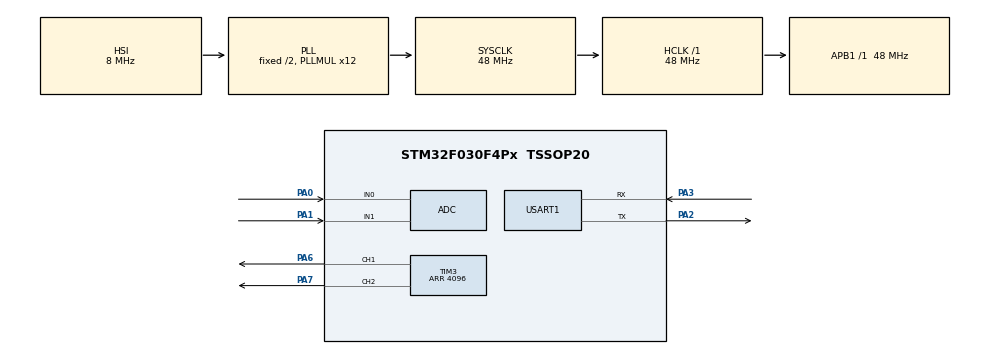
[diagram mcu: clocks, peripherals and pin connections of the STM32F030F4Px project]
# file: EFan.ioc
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ADC.ContinuousConvMode=ENABLE
ADC.DMAContinuousRequests=ENABLE
ADC.SamplingTime=ADC_SAMPLETIME_55CYCLES_5
Dma.ADC.2.Direction=DMA_PERIPH_TO_MEMORY
Dma.ADC.2.Instance=DMA1_Channel1
Dma.ADC.2.MemDataAlignment=DMA_MDATAALIGN_HALFWORD
Dma.ADC.2.MemInc=DMA_MINC_ENABLE
Dma.ADC.2.Mode=DMA_CIRCULAR
Dma.ADC.2.PeriphDataAlignment=DMA_PDATAALIGN_HALFWORD
Dma.ADC.2.PeriphInc=DMA_PINC_DISABLE
Dma.ADC.2.Priority=DMA_PRIORITY_LOW
Dma.Request0=USART1_RX
Dma.Request1=USART1_TX
Dma.Request2=ADC
Dma.USART1_RX.0.Direction=DMA_PERIPH_TO_MEMORY
Dma.USART1_RX.0.Instance=DMA1_Channel3
Dma.USART1_RX.0.MemDataAlignment=DMA_MDATAALIGN_BYTE
Dma.USART1_RX.0.MemInc=DMA_MINC_ENABLE
Dma.USART1_RX.0.Mode=DMA_NORMAL
Dma.USART1_RX.0.PeriphDataAlignment=DMA_PDATAALIGN_BYTE
Dma.USART1_RX.0.PeriphInc=DMA_PINC_DISABLE
Dma.USART1_RX.0.Priority=DMA_PRIORITY_LOW
Dma.USART1_TX.1.Direction=DMA_MEMORY_TO_PERIPH
Dma.USART1_TX.1.Instance=DMA1_Channel2
Dma.USART1_TX.1.MemDataAlignment=DMA_MDATAALIGN_BYTE
Dma.USART1_TX.1.MemInc=DMA_MINC_ENABLE
Dma.USART1_TX.1.Mode=DMA_NORMAL
Dma.USART1_TX.1.PeriphDataAlignment=DMA_PDATAALIGN_BYTE
Dma.USART1_TX.1.PeriphInc=DMA_PINC_DISABLE
Dma.USART1_TX.1.Priority=DMA_PRIORITY_LOW
Mcu.Family=STM32F0
Mcu.Name=STM32F030F4Px
Mcu.Package=TSSOP20
NVIC.DMA1_Channel1_IRQn=true\:0\:0\:false\:false\:true\:false\:true
NVIC.DMA1_Channel2_3_IRQn=true\:0\:0\:false\:false\:true\:false\:true
NVIC.TIM14_IRQn=true\:0\:0\:false\:false\:true\:true\:true
PA0.Mode=IN0
PA0.Signal=ADC_IN0
PA1.Mode=IN1
PA1.Signal=ADC_IN1
PA13.Mode=Serial_Wire
PA13.Signal=SYS_SWDIO
PA14.Mode=Serial_Wire
PA14.Signal=SYS_SWCLK
PA2.Mode=Asynchronous
PA2.Signal=USART1_TX
PA3.Mode=Asynchronous
PA3.Signal=USART1_RX
PA6.Signal=S_TIM3_CH1
PA7.Signal=S_TIM3_CH2
ProjectManager.HeapSize=0x200
ProjectManager.StackSize=0x400
ProjectManager.TargetToolchain=Makefile
RCC.AHBFreq_Value=48000000
RCC.APB1Freq_Value=48000000
RCC.APB1TimFreq_Value=48000000
RCC.HCLKFreq_Value=48000000
RCC.PLLMUL=RCC_PLL_MUL12
RCC.SYSCLKFreq_VALUE=48000000
RCC.SYSCLKSource=RCC_SYSCLKSOURCE_PLLCLK
SH.S_TIM3_CH1.0=TIM3_CH1,Output Compare1 CH1
SH.S_TIM3_CH2.0=TIM3_CH2,Output Compare2 CH2
TIM14.Channel=TIM_CHANNEL_1
TIM14.Period=1000
TIM14.Prescaler=0xbb80
TIM14.Pulse=100
TIM3.Channel-Output\ Compare1\ CH1=TIM_CHANNEL_1
TIM3.Channel-Output\ Compare2\ CH2=TIM_CHANNEL_2
TIM3.Period=4096
USART1.VirtualMode-Asynchronous=VM_ASYNC
VP_TIM14_VS_ClockSourceINT.Mode=Enable_Timer
VP_TIM14_VS_no_output1.Mode=PWM Generation1 No Output
board=custom

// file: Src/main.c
/* USER CODE BEGIN Header */
/**
  ******************************************************************************
  * @file           : main.c
  * @brief          : Main program body
  ******************************************************************************
  * @attention
  *
  * <h2><center>&copy; Copyright (c) 2019 STMicroelectronics.
  * All rights reserved.</center></h2>
  *
  * This software component is licensed by ST under BSD 3-Clause license,
  * the "License"; You may not use this file except in compliance with the
  * License. You may obtain a copy of the License at:
  *                        opensource.org/licenses/BSD-3-Clause
  *
  ******************************************************************************
  */
/* USER CODE END Header */

#include "main.h"

ADC_HandleTypeDef hadc;
DMA_HandleTypeDef hdma_adc;

TIM_HandleTypeDef htim3;
TIM_HandleTypeDef htim14;

UART_HandleTypeDef huart1;
DMA_HandleTypeDef hdma_usart1_rx;
DMA_HandleTypeDef hdma_usart1_tx;

/* USER CODE BEGIN PV */
uint16_t temperature[2];
/* USER CODE END PV */

void SystemClock_Config(void);
static void MX_GPIO_Init(void);
static void MX_DMA_Init(void);
static void MX_ADC_Init(void);
static void MX_USART1_UART_Init(void);
static void MX_TIM3_Init(void);
static void MX_TIM14_Init(void);

int main(void)
{

  /* MCU Configuration--------------------------------------------------------*/

  /* Reset of all peripherals, Initializes the Flash interface and the Systick. */
  HAL_Init();

  /* Configure the system clock */
  SystemClock_Config();

  /* Initialize all configured peripherals */
  MX_GPIO_Init();
  MX_DMA_Init();
  MX_ADC_Init();
  MX_USART1_UART_Init();
  MX_TIM3_Init();
  MX_TIM14_Init();
  /* USER CODE BEGIN 2 */

  if (HAL_ADCEx_Calibration_Start(&hadc) != HAL_OK)
  {
    Error_Handler();
  }
  if (HAL_ADC_Start_DMA(&hadc, (uint32_t *)temperature, sizeof(uint16_t) * 2) != HAL_OK)
  {
    Error_Handler();
  }
  /* USER CODE END 2 */

  /* Infinite loop */
  while (1)
  {

  }
}

void SystemClock_Config(void)
{
  RCC_OscInitTypeDef RCC_OscInitStruct = {0};
  RCC_ClkInitTypeDef RCC_ClkInitStruct = {0};
  RCC_PeriphCLKInitTypeDef PeriphClkInit = {0};

  /** Initializes the CPU, AHB and APB busses clocks
  */
  RCC_OscInitStruct.OscillatorType = RCC_OSCILLATORTYPE_HSI | RCC_OSCILLATORTYPE_HSI14;
  RCC_OscInitStruct.HSIState = RCC_HSI_ON;
  RCC_OscInitStruct.HSI14State = RCC_HSI14_ON;
  RCC_OscInitStruct.HSICalibrationValue = RCC_HSICALIBRATION_DEFAULT;
  RCC_OscInitStruct.HSI14CalibrationValue = 16;
  RCC_OscInitStruct.PLL.PLLState = RCC_PLL_ON;
  RCC_OscInitStruct.PLL.PLLSource = RCC_PLLSOURCE_HSI;
  RCC_OscInitStruct.PLL.PLLMUL = RCC_PLL_MUL12;
  RCC_OscInitStruct.PLL.PREDIV = RCC_PREDIV_DIV1;
  if (HAL_RCC_OscConfig(&RCC_OscInitStruct) != HAL_OK)
  {
    Error_Handler();
  }
  /** Initializes the CPU, AHB and APB busses clocks
  */
  RCC_ClkInitStruct.ClockType = RCC_CLOCKTYPE_HCLK | RCC_CLOCKTYPE_SYSCLK | RCC_CLOCKTYPE_PCLK1;
  RCC_ClkInitStruct.SYSCLKSource = RCC_SYSCLKSOURCE_PLLCLK;
  RCC_ClkInitStruct.AHBCLKDivider = RCC_SYSCLK_DIV1;
  RCC_ClkInitStruct.APB1CLKDivider = RCC_HCLK_DIV1;

  if (HAL_RCC_ClockConfig(&RCC_ClkInitStruct, FLASH_LATENCY_1) != HAL_OK)
  {
    Error_Handler();
  }
  PeriphClkInit.PeriphClockSelection = RCC_PERIPHCLK_USART1;
  PeriphClkInit.Usart1ClockSelection = RCC_USART1CLKSOURCE_PCLK1;
  if (HAL_RCCEx_PeriphCLKConfig(&PeriphClkInit) != HAL_OK)
  {
    Error_Handler();
  }
}

static void MX_ADC_Init(void)
{

  ADC_ChannelConfTypeDef sConfig = {0};

  /** Configure the global features of the ADC (Clock, Resolution, Data Alignment and number of conversion)
  */
  hadc.Instance = ADC1;
  hadc.Init.ClockPrescaler = ADC_CLOCK_ASYNC_DIV1;
  hadc.Init.Resolution = ADC_RESOLUTION_12B;
  hadc.Init.DataAlign = ADC_DATAALIGN_RIGHT;
  hadc.Init.ScanConvMode = ADC_SCAN_DIRECTION_FORWARD;
  hadc.Init.EOCSelection = ADC_EOC_SINGLE_CONV;
  hadc.Init.LowPowerAutoWait = DISABLE;
  hadc.Init.LowPowerAutoPowerOff = DISABLE;
  hadc.Init.ContinuousConvMode = ENABLE;
  hadc.Init.DiscontinuousConvMode = DISABLE;
  hadc.Init.ExternalTrigConv = ADC_SOFTWARE_START;
  hadc.Init.ExternalTrigConvEdge = ADC_EXTERNALTRIGCONVEDGE_NONE;
  hadc.Init.DMAContinuousRequests = ENABLE;
  hadc.Init.Overrun = ADC_OVR_DATA_PRESERVED;
  if (HAL_ADC_Init(&hadc) != HAL_OK)
  {
    Error_Handler();
  }
  /** Configure for the selected ADC regular channel to be converted.
  */
  sConfig.Channel = ADC_CHANNEL_0;
  sConfig.Rank = ADC_RANK_CHANNEL_NUMBER;
  sConfig.SamplingTime = ADC_SAMPLETIME_55CYCLES_5;
  if (HAL_ADC_ConfigChannel(&hadc, &sConfig) != HAL_OK)
  {
    Error_Handler();
  }
  /** Configure for the selected ADC regular channel to be converted.
  */
  sConfig.Channel = ADC_CHANNEL_1;
  if (HAL_ADC_ConfigChannel(&hadc, &sConfig) != HAL_OK)
  {
    Error_Handler();
  }
}

static void MX_TIM3_Init(void)
{

  TIM_MasterConfigTypeDef sMasterConfig = {0};
  TIM_OC_InitTypeDef sConfigOC = {0};

  htim3.Instance = TIM3;
  htim3.Init.Prescaler = 0;
  htim3.Init.CounterMode = TIM_COUNTERMODE_UP;
  htim3.Init.Period = 4096;
  htim3.Init.ClockDivision = TIM_CLOCKDIVISION_DIV1;
  htim3.Init.AutoReloadPreload = TIM_AUTORELOAD_PRELOAD_DISABLE;
  if (HAL_TIM_OC_Init(&htim3) != HAL_OK)
  {
    Error_Handler();
  }
  sMasterConfig.MasterOutputTrigger = TIM_TRGO_RESET;
  sMasterConfig.MasterSlaveMode = TIM_MASTERSLAVEMODE_DISABLE;
  if (HAL_TIMEx_MasterConfigSynchronization(&htim3, &sMasterConfig) != HAL_OK)
  {
    Error_Handler();
  }
  sConfigOC.OCMode = TIM_OCMODE_TIMING;
  sConfigOC.Pulse = 0;
  sConfigOC.OCPolarity = TIM_OCPOLARITY_HIGH;
  sConfigOC.OCFastMode = TIM_OCFAST_DISABLE;
  if (HAL_TIM_OC_ConfigChannel(&htim3, &sConfigOC, TIM_CHANNEL_1) != HAL_OK)
  {
    Error_Handler();
  }
  if (HAL_TIM_OC_ConfigChannel(&htim3, &sConfigOC, TIM_CHANNEL_2) != HAL_OK)
  {
    Error_Handler();
  }
  HAL_TIM_MspPostInit(&htim3);
}

static void MX_TIM14_Init(void)
{

  TIM_OC_InitTypeDef sConfigOC = {0};

  htim14.Instance = TIM14;
  htim14.Init.Prescaler = 0xbb80;
  htim14.Init.CounterMode = TIM_COUNTERMODE_UP;
  htim14.Init.Period = 1000;
  htim14.Init.ClockDivision = TIM_CLOCKDIVISION_DIV1;
  htim14.Init.AutoReloadPreload = TIM_AUTORELOAD_PRELOAD_DISABLE;
  if (HAL_TIM_Base_Init(&htim14) != HAL_OK)
  {
    Error_Handler();
  }
  if (HAL_TIM_PWM_Init(&htim14) != HAL_OK)
  {
    Error_Handler();
  }
  sConfigOC.OCMode = TIM_OCMODE_PWM1;
  sConfigOC.Pulse = 100;
  sConfigOC.OCPolarity = TIM_OCPOLARITY_HIGH;
  sConfigOC.OCFastMode = TIM_OCFAST_DISABLE;
  if (HAL_TIM_PWM_ConfigChannel(&htim14, &sConfigOC, TIM_CHANNEL_1) != HAL_OK)
  {
    Error_Handler();
  }
}

static void MX_USART1_UART_Init(void)
{

  huart1.Instance = USART1;
  huart1.Init.BaudRate = 38400;
  huart1.Init.WordLength = UART_WORDLENGTH_8B;
  huart1.Init.StopBits = UART_STOPBITS_1;
  huart1.Init.Parity = UART_PARITY_NONE;
  huart1.Init.Mode = UART_MODE_TX_RX;
  huart1.Init.HwFlowCtl = UART_HWCONTROL_NONE;
  huart1.Init.OverSampling = UART_OVERSAMPLING_16;
  huart1.Init.OneBitSampling = UART_ONE_BIT_SAMPLE_DISABLE;
  huart1.AdvancedInit.AdvFeatureInit = UART_ADVFEATURE_NO_INIT;
  if (HAL_UART_Init(&huart1) != HAL_OK)
  {
    Error_Handler();
  }
}

static void MX_DMA_Init(void)
{

  /* DMA controller clock enable */
  __HAL_RCC_DMA1_CLK_ENABLE();

  /* DMA interrupt init */
  /* DMA1_Channel1_IRQn interrupt configuration */
  HAL_NVIC_SetPriority(DMA1_Channel1_IRQn, 0, 0);
  HAL_NVIC_EnableIRQ(DMA1_Channel1_IRQn);
  /* DMA1_Channel2_3_IRQn interrupt configuration */
  HAL_NVIC_SetPriority(DMA1_Channel2_3_IRQn, 0, 0);
  HAL_NVIC_EnableIRQ(DMA1_Channel2_3_IRQn);
}

static void MX_GPIO_Init(void)
{

  /* GPIO Ports Clock Enable */
  __HAL_RCC_GPIOA_CLK_ENABLE();
}

/* USER CODE BEGIN 4 */
const uint16_t SLOW_HALT = 300;
const uint16_t LINEAR_TEMP = 300;
void HAL_ADC_ConvCpltCallback(ADC_HandleTypeDef *h)
{
  if (&hadc == h)
  {
    uint16_t target = temperature[1];
    uint16_t current = temperature[0];
    static uint16_t previous = 0;
    TIM_OC_InitTypeDef sConfigOC = {0};

    if (current - SLOW_HALT < target)
    {
      // stop the pwm
      HAL_TIM_PWM_Stop(&htim3, TIM_CHANNEL_1);
      return;
    }

    HAL_TIM_PWM_GetState(&htim3);

    // filter small bumper
    if (current > previous)
    {
      if (current - previous < 10)
      {
        return;
      }
    }
    else
    {
      if (previous - current < 10)
      {
        return;
      }
    }
    if (current > target)
    {
      uint16_t p = (current - target) * 70 / LINEAR_TEMP;
      if (p > 70)
        p = 70;
      p += 30;
      p *= 4;

      htim3.Instance->CCR1 = p;

      previous = current;
    }
  }
}
/* USER CODE END 4 */

void Error_Handler(void)
{
}

/************************ (C) COPYRIGHT STMicroelectronics *****END OF FILE****/
